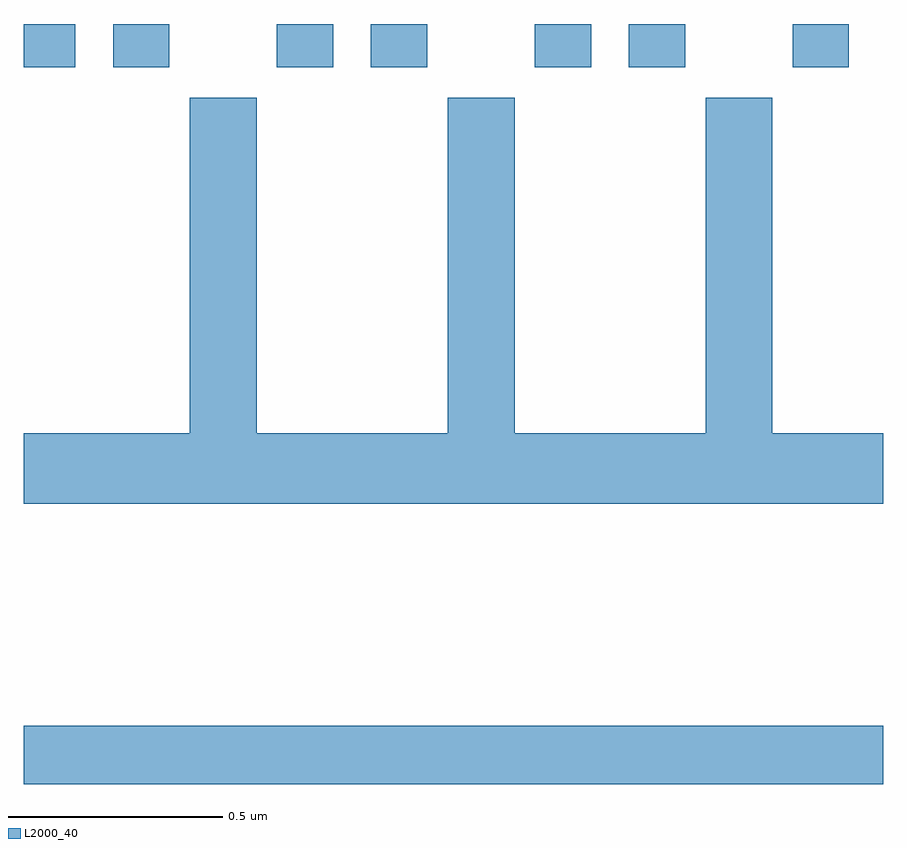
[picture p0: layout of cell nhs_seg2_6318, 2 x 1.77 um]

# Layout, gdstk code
import gdstk
lib = gdstk.Library(unit=1e-6, precision=1e-09)
def R(c, l, rs):  # rectangles x0, y0, x1, y1
    for r in rs: c.add(gdstk.rectangle(r[:2], r[2:], *l))
def P(c, l, *ps):  # polygons
    for p in ps: c.add(gdstk.Polygon(p, *l))
L2000_40 = (2000, 40)

nhs_seg2_6318 = lib.new_cell('nhs_seg2_6318')
R(nhs_seg2_6318, L2000_40, [(190,599.032,192,599.168), (190,600.699,190.12,600.8), (190.208,600.699,190.339,600.8), (190.589,600.699,190.72,600.8), (190.808,600.699,190.939,600.8), (191.189,600.699,191.32,600.8), (191.408,600.699,191.539,600.8), (191.789,600.699,191.92,600.8)])
P(nhs_seg2_6318, L2000_40, [(192,599.848),(191.742,599.848),(191.742,600.628),(191.587,600.628),(191.587,599.848),(191.142,599.848),(191.142,600.628),(190.987,600.628),(190.987,599.848),(190.542,599.848),(190.542,600.628),(190.387,600.628),(190.387,599.848),(190,599.848),(190,599.684),(192,599.684)])

lib.write_gds('nhs_seg2_6318.gds')
